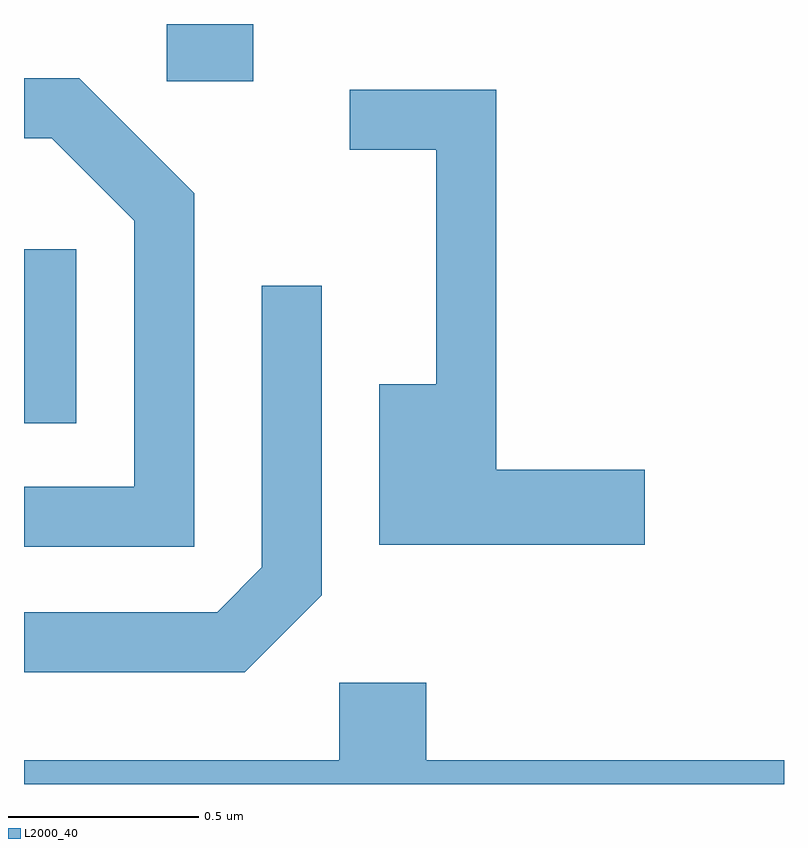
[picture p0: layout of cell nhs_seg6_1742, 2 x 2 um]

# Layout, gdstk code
import gdstk
lib = gdstk.Library(unit=1e-6, precision=1e-09)
def R(c, l, rs):  # rectangles x0, y0, x1, y1
    for r in rs: c.add(gdstk.rectangle(r[:2], r[2:], *l))
def P(c, l, *ps):  # polygons
    for p in ps: c.add(gdstk.Polygon(p, *l))
L2000_40 = (2000, 40)

nhs_seg6_1742 = lib.new_cell('nhs_seg6_1742')
R(nhs_seg6_1742, L2000_40, [(197.611,1631.111,197.749,1631.569), (197.986,1632.011,198.214,1632.162)])
P(nhs_seg6_1742, L2000_40, [(198.059,1631.717),(197.757,1632.019),(197.611,1632.019),(197.611,1631.861),(197.684,1631.861),(197.901,1631.644),(197.901,1630.944),(197.611,1630.944),(197.611,1630.786),(198.059,1630.786)],
  [(199.244,1630.989),(198.854,1630.989),(198.854,1631.989),(198.468,1631.989),(198.468,1631.831),(198.696,1631.831),(198.696,1631.214),(198.546,1631.214),(198.546,1630.791),(199.244,1630.791)],
  [(198.394,1630.659),(198.394,1631.473),(198.236,1631.473),(198.236,1630.732),(198.119,1630.614),(197.611,1630.614),(197.611,1630.456),(198.192,1630.456)],
  [(199.611,1630.224),(198.669,1630.224),(198.669,1630.429),(198.441,1630.429),(198.441,1630.224),(197.611,1630.224),(197.611,1630.162),(199.611,1630.162)])

lib.write_gds('nhs_seg6_1742.gds')
